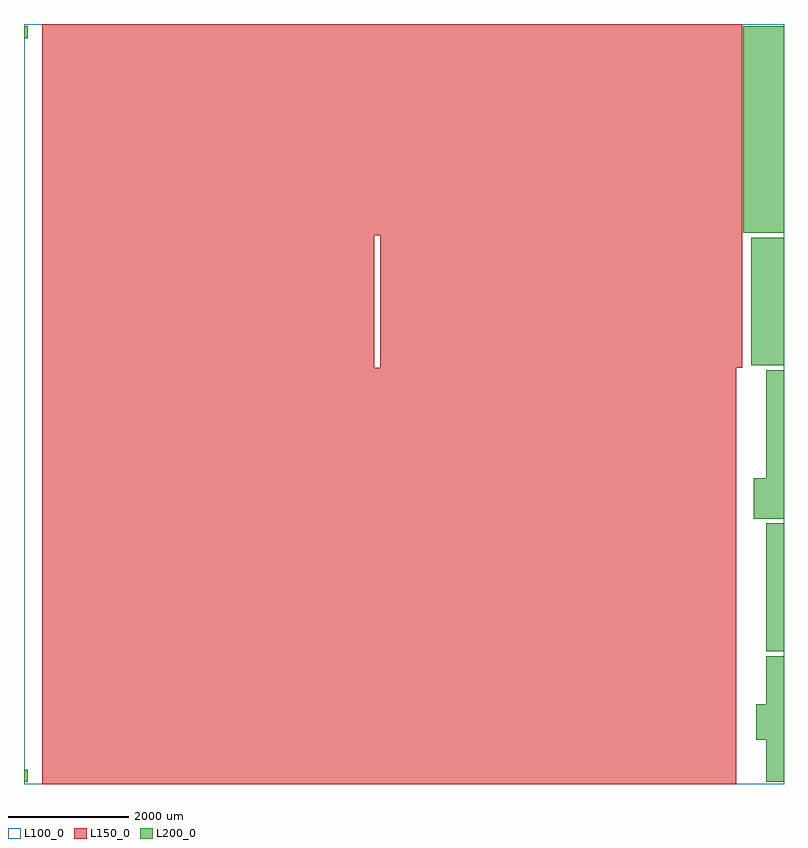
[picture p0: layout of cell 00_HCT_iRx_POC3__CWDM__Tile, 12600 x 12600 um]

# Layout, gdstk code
import gdstk
lib = gdstk.Library(unit=1e-6, precision=1e-09)
def R(c, l, rs):  # rectangles x0, y0, x1, y1
    for r in rs: c.add(gdstk.rectangle(r[:2], r[2:], *l))
def P(c, l, *ps):  # polygons
    for p in ps: c.add(gdstk.Polygon(p, *l))
L100_0 = (100, 0)
L150_0 = (150, 0)
L200_0 = (200, 0)

echelle_die_edge_l = lib.new_cell('Echelle_die_edge_L')

echelle_die_edge_top = lib.new_cell('Echelle_die_edge_Top')

echelle_die = lib.new_cell('Echelle_Die')
R(echelle_die, L150_0, [(0,0,500,2200)])
echelle_die.add(gdstk.Reference(echelle_die_edge_l, (480,0)))
echelle_die.add(gdstk.Reference(echelle_die_edge_top, (0,-2160)))
echelle_die.add(gdstk.Reference(echelle_die_edge_l, (0,0)))
echelle_die.add(gdstk.Reference(echelle_die_edge_top, (0,0)))

bar_4 = lib.new_cell('bar_4')
r = gdstk.Reference(echelle_die, (0,0)); r.repetition = gdstk.Repetition(11, 1, v1=(500,0), v2=(0,2200)); bar_4.add(r)

c_90hybrid_str_die = lib.new_cell('90Hybrid_STR_Die')
R(c_90hybrid_str_die, L150_0, [(0,0,1000,3500)])

c_90hybrid_cr_die = lib.new_cell('90Hybrid_CR_Die')
R(c_90hybrid_cr_die, L150_0, [(0,0,1000,5700)])

c_401_ = lib.new_cell('401_')
c_401_.add(gdstk.Reference(c_90hybrid_cr_die, (0,0)))

awg_die = lib.new_cell('AWG_Die')
R(awg_die, L150_0, [(0,0,600,3500)])

bar_5 = lib.new_cell('bar_5')
r = gdstk.Reference(c_90hybrid_str_die, (3600,2200)); r.repetition = gdstk.Repetition(2, 1, v1=(1000,0), v2=(0,3500)); bar_5.add(r)
r = gdstk.Reference(c_401_, (5600,0)); r.repetition = gdstk.Repetition(6, 1, v1=(1000,0), v2=(0,3800)); bar_5.add(r)
r = gdstk.Reference(awg_die, (0,2200)); r.repetition = gdstk.Repetition(6, 1, v1=(600,0), v2=(0,3800)); bar_5.add(r)

echelle_die_2500 = lib.new_cell('Echelle_Die_2500')
R(echelle_die_2500, L150_0, [(0,0,500,2500)])
echelle_die_2500.add(gdstk.Reference(echelle_die_edge_l, (480,0)))
echelle_die_2500.add(gdstk.Reference(echelle_die_edge_top, (0,-2160)))
echelle_die_2500.add(gdstk.Reference(echelle_die_edge_l, (0,0)))
echelle_die_2500.add(gdstk.Reference(echelle_die_edge_top, (0,300)))

echelle_die_wide = lib.new_cell('Echelle_Die_wide')
R(echelle_die_wide, L150_0, [(0,0,700,2500)])
echelle_die_wide.add(gdstk.Reference(echelle_die_edge_l, (680,0)))
echelle_die_wide.add(gdstk.Reference(echelle_die_edge_top, (0,-2160)))
echelle_die_wide.add(gdstk.Reference(echelle_die_edge_l, (0,0)))
echelle_die_wide.add(gdstk.Reference(echelle_die_edge_top, (0,300)))

bar_3 = lib.new_cell('bar_3')
r = gdstk.Reference(echelle_die_2500, (0,0)); r.repetition = gdstk.Repetition(16, 1, v1=(500,0), v2=(0,2200)); bar_3.add(r)
r = gdstk.Reference(echelle_die_wide, (8000,0)); r.repetition = gdstk.Repetition(5, 1, v1=(700,0), v2=(0,2500)); bar_3.add(r)

c_210 = lib.new_cell('210')
c_210.add(gdstk.Reference(echelle_die, (0,0)))

bar_2 = lib.new_cell('bar_2')
r = gdstk.Reference(c_210, (0,0)); r.repetition = gdstk.Repetition(23, 1, v1=(500,0), v2=(0,2200)); bar_2.add(r)

c_102 = lib.new_cell('102')
c_102.add(gdstk.Reference(echelle_die, (0,0)))

c_101 = lib.new_cell('101')
c_101.add(gdstk.Reference(echelle_die, (0,0)))

c_103 = lib.new_cell('103')
c_103.add(gdstk.Reference(echelle_die, (0,0)))

bar_1 = lib.new_cell('bar_1')
bar_1.add(gdstk.Reference(c_102, (500,0)))
bar_1.add(gdstk.Reference(c_101, (0,0)))
r = gdstk.Reference(c_103, (1000,0)); r.repetition = gdstk.Repetition(21, 1, v1=(500,0), v2=(0,2200)); bar_1.add(r)

box_fn_vl_wg_tw__295_x11 = lib.new_cell('box_FN_VL_WG_TW__295_x11200_')

box_dn_vl_715_x_40 = lib.new_cell('box_DN_VL_715_x_40')

box_fn_va_295_x_40 = lib.new_cell('box_FN_VA_295_x_40')

tile_size = lib.new_cell('Tile_size')
R(tile_size, L100_0, [(0,0,12600,12600)])
R(tile_size, L200_0, [(0,40,60,240), (12305,2200,12600,4320), (12055,6940,12600,9060), (11925,9140,12600,12560), (0,12360,60,12560)])
P(tile_size, L200_0, [(12095,4400),(12600,4400),(12600,6860),(12305,6860),(12305,5071.624),(12095,5071.624)],
  [(12140,735),(12305,735),(12305,40),(12600,40),(12600,2120),(12305,2120),(12305,1320),(12140,1320)])
tile_size.add(gdstk.Reference(box_dn_vl_715_x_40, (400,660)))
tile_size.add(gdstk.Reference(box_dn_vl_715_x_40, (400,700)))
tile_size.add(gdstk.Reference(box_fn_va_295_x_40, (0,2120)))
tile_size.add(gdstk.Reference(box_fn_va_295_x_40, (0,2160)))
tile_size.add(gdstk.Reference(box_fn_va_295_x_40, (0,-40)))
tile_size.add(gdstk.Reference(box_fn_va_295_x_40, (0,0)))
tile_size.add(gdstk.Reference(box_dn_vl_715_x_40, (400,-1500)))
tile_size.add(gdstk.Reference(box_fn_va_295_x_40, (0,6860)))
tile_size.add(gdstk.Reference(box_fn_va_295_x_40, (0,4320)))
tile_size.add(gdstk.Reference(box_fn_va_295_x_40, (0,4360)))

c_00_hct_irx_poc3__cwdm__t = lib.new_cell('00_HCT_iRx_POC3__CWDM__Tile')
c_00_hct_irx_poc3__cwdm__t.add(gdstk.Reference(bar_4, (305,6900)))
c_00_hct_irx_poc3__cwdm__t.add(gdstk.Reference(bar_5, (305,6900)))
c_00_hct_irx_poc3__cwdm__t.add(gdstk.Reference(bar_3, (305,4400)))
c_00_hct_irx_poc3__cwdm__t.add(gdstk.Reference(bar_2, (305,2200)))
c_00_hct_irx_poc3__cwdm__t.add(gdstk.Reference(bar_1, (305,0)))
c_00_hct_irx_poc3__cwdm__t.add(gdstk.Reference(box_fn_vl_wg_tw__295_x11, (60,0)))
c_00_hct_irx_poc3__cwdm__t.add(gdstk.Reference(tile_size, (0,0)))

lib.write_gds('00_HCT_iRx_POC3__CWDM__Tile.gds')
